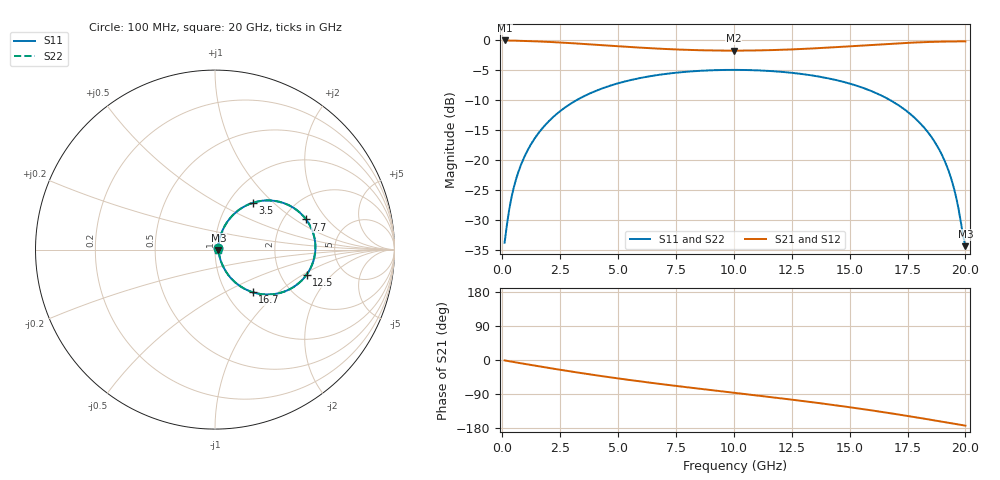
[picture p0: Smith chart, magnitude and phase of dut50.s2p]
! Touchstone file exported from HFSS 2026.1.0
!  File:  C:/ffzhzh/LocalFiles/Ansys_Project_Files/temp_train_TSV_RDL_50_1782967019_15332.aedt
!  Generated:  12:50:38 PM Jul  2, 2026
!  Design:  TSV_RDL
!  Project:  temp_train_TSV_RDL_50_1782967019_15332
! Variables:
!  h_bsmrdl = 2.83um
!  h_ox = 20um
!  h_rdl = 5um
!  h_sub = 73.41um
!  h_tmrdl = 2.03um
!  h_tsv = 73.41um
!  h_via = 3um
!  l_bsmrdl = 465.86um
!  l_sub = 2899.73um
!  l_tmrdl = 239.02um
!  m_sub = 200um
!  pitch = 57.84um
!  r_tsv = 6.91um
!  s_tmrdl = 10um
!  w_bsmrdl = 29.29um
!  w_sub = 500um
!  w_tmrdl = 19.4um
!  x_tsv_center1 = 248.72um
!  x_tsv_center2 = 743.87um
!  x_tsv_center3 = 1002.29um
!  x_tsv_center4 = 1497.44um
!  x_tsv_center5 = 1755.86um
!  x_tsv_center6 = 2251.01um
# GHz S MA R 50.000000
! Terminal data exported
! Port[1] = TM_RDL1_1_T1
! Port[2] = TM_RDL5_1_T1
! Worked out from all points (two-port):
!   200 points, 100 MHz to 20 GHz, reference 50 ohm
!   highest |S21| = -0.15 dB at 100 MHz (marker M1); lowest = -1.8 dB at 10 GHz (marker M2)
!   |S21| within 3 dB of the highest: start of sweep to end of sweep
!   lowest |S11| = -34.4 dB at 20 GHz (marker M3), VSWR 1.04, Z = 51.9 - j0.167 ohm
!   |S11| at or under -10 dB: start of sweep to 3.244 GHz; 16.72 GHz to end of sweep
!   |S22| runs from -34.3 to -5.0 dB; largest |S21 - S12| = 4e-14
!   S11 on the Smith chart (normalised r, x): 100 MHz: 1.03, +0.02; 3.5 GHz: 1.29, +0.76; 7.7 GHz: 2.64, +1.24; 12.5 GHz: 2.78, -1.08; 16.7 GHz: 1.32, -0.70; 20 GHz: 1.04, -0.00
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0.1  0.02047 33.7  0.9831 -1.1  0.9831 -1.1  0.02047 33.7
! Gamma 0 0 0 0
! Port Impedance 50 0 50 0
0.3  0.03877 59.4  0.9816 -3.3  0.9816 -3.3  0.03877 59.4
0.5  0.05932 66.0  0.9795 -5.4  0.9795 -5.4  0.05932 66.0
0.8  0.09013 68.6  0.9759 -8.6  0.9759 -8.6  0.09013 68.6
1.1  0.1206 68.4  0.9719 -11.7  0.9719 -11.7  0.1206 68.4
2.1  0.218 62.4  0.9543 -21.9  0.9543 -21.9  0.218 62.4
3.5  0.336 51.0  0.9201 -35.3  0.9201 -35.3  0.336 51.0
5  0.4329 38.6  0.88 -48.6  0.88 -48.6  0.4329 38.6
6.8  0.5103 24.8  0.8395 -63.1  0.8395 -63.1  0.5103 24.8
7.7  0.5347 18.3  0.8249 -69.9  0.8249 -69.9  0.5347 18.3
10  0.5597 2.2  0.8092 -86.5  0.8092 -86.5  0.5597 2.2
10.1  0.5597 1.5  0.8092 -87.2  0.8092 -87.2  0.5597 1.5
12.5  0.5291 -15.3  0.8282 -104.6  0.8282 -104.6  0.5291 -15.3
13.4  0.5023 -21.9  0.8436 -111.5  0.8436 -111.5  0.5023 -21.9
15.2  0.4194 -36.0  0.884 -126.3  0.884 -126.3  0.4194 -36.0
16.7  0.3177 -48.4  0.9213 -139.9  0.9213 -139.9  0.3177 -48.4
18  0.2059 -59.0  0.9485 -152.6  0.9485 -152.6  0.2059 -59.0
18.9  0.1186 -64.2  0.9607 -161.8  0.9607 -161.8  0.1186 -64.2
19.2  0.08854 -64.1  0.9632 -164.9  0.9632 -164.9  0.08855 -64.1
19.5  0.05864 -60.7  0.9647 -168.0  0.9647 -168.0  0.05865 -60.7
19.7  0.03951 -53.0  0.9652 -170.1  0.9652 -170.1  0.03952 -53.0
20  0.01916 -4.8  0.9652 -173.3  0.9652 -173.3  0.01917 -4.8
